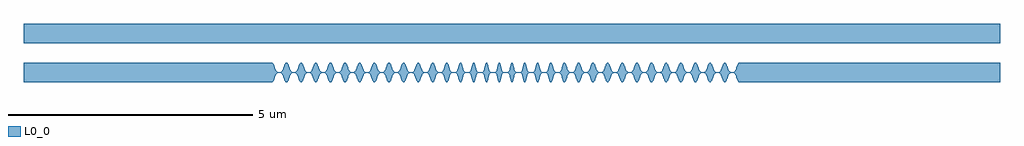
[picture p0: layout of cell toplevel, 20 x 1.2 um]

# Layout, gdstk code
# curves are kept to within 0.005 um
import gdstk
lib = gdstk.Library(unit=1e-6, precision=1e-09)
def R(c, l, rs):  # rectangles x0, y0, x1, y1
    for r in rs: c.add(gdstk.rectangle(r[:2], r[2:], *l))
def P(c, l, *ps):  # polygons
    for p in ps: c.add(gdstk.Polygon(p, *l))
L0_0 = (0, 0)

toplevel = lib.new_cell('toplevel')
R(toplevel, L0_0, [(-10,0.6,10,1)])
P(toplevel, L0_0, [(-4.911,-0.198),(-4.879,-0.155),(-4.835,-0.04),(-4.804,-0.008),(-4.737,-0.008),(-4.718,-0.021),(-4.696,-0.06),(-4.662,-0.155),(-4.643,-0.187),(-4.624,-0.2),(-4.608,-0.196),(-4.586,-0.168),(-4.523,-0.021),(-4.504,-0.008),(-4.431,-0.01),(-4.399,-0.053),(-4.362,-0.155),(-4.339,-0.19),(-4.339,0.19),(-4.362,0.155),(-4.399,0.053),(-4.431,0.01),(-4.504,0.008),(-4.523,0.021),(-4.586,0.168),(-4.608,0.196),(-4.624,0.2),(-4.643,0.187),(-4.662,0.155),(-4.696,0.06),(-4.718,0.021),(-4.737,0.008),(-4.804,0.008),(-4.835,0.04),(-4.879,0.155),(-4.898,0.187),(-4.917,0.2),(-10,0.2),(-10,-0.2)],
  [(-4.311,-0.198),(-4.279,-0.155),(-4.235,-0.04),(-4.204,-0.008),(-4.137,-0.008),(-4.118,-0.021),(-4.096,-0.06),(-4.062,-0.155),(-4.043,-0.187),(-4.024,-0.2),(-4.008,-0.196),(-3.986,-0.168),(-3.923,-0.021),(-3.904,-0.008),(-3.831,-0.01),(-3.799,-0.053),(-3.755,-0.168),(-3.755,0.168),(-3.799,0.053),(-3.831,0.01),(-3.904,0.008),(-3.923,0.021),(-3.986,0.168),(-4.008,0.196),(-4.024,0.2),(-4.043,0.187),(-4.062,0.155),(-4.096,0.06),(-4.118,0.021),(-4.137,0.008),(-4.204,0.008),(-4.223,0.021),(-4.242,0.053),(-4.295,0.183),(-4.311,0.198),(-4.33,0.198),(-4.339,0.19),(-4.339,-0.19),(-4.324,-0.2)],
  [(-3.711,-0.198),(-3.679,-0.155),(-3.635,-0.04),(-3.604,-0.008),(-3.537,-0.008),(-3.518,-0.021),(-3.496,-0.06),(-3.462,-0.155),(-3.443,-0.187),(-3.424,-0.2),(-3.395,-0.183),(-3.342,-0.053),(-3.323,-0.021),(-3.304,-0.008),(-3.237,-0.008),(-3.218,-0.021),(-3.196,-0.06),(-3.165,-0.148),(-3.165,0.148),(-3.196,0.06),(-3.218,0.021),(-3.237,0.008),(-3.304,0.008),(-3.323,0.021),(-3.342,0.053),(-3.395,0.183),(-3.424,0.2),(-3.443,0.187),(-3.462,0.155),(-3.496,0.06),(-3.518,0.021),(-3.537,0.008),(-3.604,0.008),(-3.623,0.021),(-3.642,0.053),(-3.695,0.183),(-3.711,0.198),(-3.73,0.198),(-3.755,0.168),(-3.755,-0.168),(-3.733,-0.196)],
  [(-3.111,-0.198),(-3.079,-0.155),(-3.035,-0.04),(-3.004,-0.008),(-2.937,-0.008),(-2.918,-0.021),(-2.896,-0.06),(-2.862,-0.155),(-2.843,-0.187),(-2.824,-0.2),(-2.795,-0.183),(-2.742,-0.053),(-2.71,-0.01),(-2.628,-0.012),(-2.599,-0.053),(-2.58,-0.104),(-2.58,0.104),(-2.599,0.053),(-2.628,0.012),(-2.71,0.01),(-2.742,0.053),(-2.786,0.168),(-2.808,0.196),(-2.824,0.2),(-2.843,0.187),(-2.862,0.155),(-2.896,0.06),(-2.918,0.021),(-2.937,0.008),(-3.004,0.008),(-3.023,0.021),(-3.042,0.053),(-3.095,0.183),(-3.111,0.198),(-3.13,0.198),(-3.165,0.148),(-3.165,-0.148),(-3.143,-0.187),(-3.13,-0.198)],
  [(-2.511,-0.198),(-2.479,-0.155),(-2.435,-0.04),(-2.404,-0.008),(-2.337,-0.008),(-2.318,-0.021),(-2.246,-0.183),(-2.23,-0.198),(-2.211,-0.198),(-2.179,-0.155),(-2.142,-0.053),(-2.113,-0.012),(-2.031,-0.01),(-1.999,-0.053),(-1.999,0.053),(-2.031,0.01),(-2.11,0.01),(-2.142,0.053),(-2.186,0.168),(-2.208,0.196),(-2.224,0.2),(-2.243,0.187),(-2.262,0.155),(-2.296,0.06),(-2.318,0.021),(-2.337,0.008),(-2.404,0.008),(-2.423,0.021),(-2.442,0.053),(-2.495,0.183),(-2.511,0.198),(-2.53,0.198),(-2.562,0.155),(-2.58,0.104),(-2.58,-0.104),(-2.546,-0.183),(-2.53,-0.198)],
  [(-1.911,-0.198),(-1.883,-0.162),(-1.837,-0.04),(-1.806,-0.008),(-1.737,-0.008),(-1.719,-0.021),(-1.697,-0.06),(-1.657,-0.168),(-1.626,-0.2),(-1.612,-0.196),(-1.597,-0.178),(-1.543,-0.035),(-1.52,-0.009),(-1.435,-0.01),(-1.417,-0.03),(-1.391,-0.094),(-1.391,0.094),(-1.417,0.03),(-1.435,0.01),(-1.52,0.009),(-1.543,0.035),(-1.597,0.178),(-1.612,0.196),(-1.626,0.2),(-1.657,0.168),(-1.697,0.06),(-1.719,0.021),(-1.737,0.008),(-1.806,0.008),(-1.837,0.04),(-1.896,0.183),(-1.911,0.198),(-1.93,0.198),(-1.962,0.155),(-1.999,0.053),(-1.999,-0.053),(-1.946,-0.183),(-1.93,-0.198)],
  [(-1.328,-0.199),(-1.302,-0.162),(-1.263,-0.04),(-1.236,-0.008),(-1.143,-0.012),(-1.122,-0.046),(-1.075,-0.183),(-1.056,-0.2),(-1.039,-0.19),(-0.985,-0.03),(-0.985,0.03),(-1.02,0.148),(-1.044,0.196),(-1.062,0.198),(-1.075,0.183),(-1.122,0.046),(-1.151,0.008),(-1.242,0.01),(-1.263,0.04),(-1.315,0.187),(-1.337,0.2),(-1.357,0.183),(-1.391,0.094),(-1.391,-0.094),(-1.363,-0.173),(-1.345,-0.196)],
  [(-0.98,-0.021),(-0.966,-0.008),(-0.864,-0.012),(-0.84,-0.06),(-0.805,-0.178),(-0.793,-0.196),(-0.781,-0.2),(-0.759,-0.168),(-0.729,-0.053),(-0.709,-0.012),(-0.601,-0.008),(-0.579,-0.04),(-0.538,-0.183),(-0.518,-0.2),(-0.497,-0.168),(-0.497,0.168),(-0.503,0.183),(-0.518,0.2),(-0.538,0.183),(-0.579,0.04),(-0.597,0.01),(-0.702,0.008),(-0.729,0.053),(-0.761,0.173),(-0.772,0.193),(-0.786,0.2),(-0.812,0.162),(-0.84,0.06),(-0.864,0.012),(-0.966,0.008),(-0.985,0.03),(-0.985,-0.03)],
  [(-0.491,-0.148),(-0.468,-0.053),(-0.449,-0.012),(-0.338,-0.008),(-0.317,-0.04),(-0.277,-0.183),(-0.258,-0.2),(-0.237,-0.168),(-0.21,-0.06),(-0.191,-0.015),(-0.182,-0.008),(-0.078,-0.008),(-0.057,-0.04),(-0.017,-0.183),(-0.006,-0.198),(0.006,-0.198),(0.034,-0.132),(0.034,0.132),(0.011,0.193),(-0.002,0.2),(-0.017,0.183),(-0.057,0.04),(-0.078,0.008),(-0.182,0.008),(-0.191,0.015),(-0.21,0.06),(-0.237,0.168),(-0.258,0.2),(-0.269,0.196),(-0.283,0.168),(-0.315,0.046),(-0.332,0.012),(-0.442,0.008),(-0.468,0.053),(-0.497,0.168),(-0.497,-0.168)],
  [(0.042,-0.094),(0.057,-0.04),(0.074,-0.01),(0.182,-0.008),(0.195,-0.021),(0.21,-0.06),(0.243,-0.183),(0.262,-0.2),(0.289,-0.155),(0.31,-0.068),(0.334,-0.012),(0.442,-0.008),(0.469,-0.053),(0.503,-0.178),(0.514,-0.196),(0.53,-0.198),(0.552,-0.162),(0.552,0.162),(0.545,0.178),(0.526,0.2),(0.508,0.187),(0.469,0.053),(0.442,0.008),(0.334,0.012),(0.31,0.068),(0.289,0.155),(0.262,0.2),(0.243,0.183),(0.21,0.06),(0.195,0.021),(0.182,0.008),(0.074,0.01),(0.055,0.046),(0.034,0.132),(0.034,-0.132)],
  [(0.559,-0.14),(0.587,-0.04),(0.606,-0.01),(0.706,-0.008),(0.732,-0.046),(0.767,-0.168),(0.786,-0.198),(0.799,-0.199),(0.823,-0.168),(0.859,-0.053),(0.88,-0.015),(0.891,-0.008),(0.976,-0.008),(0.997,-0.03),(0.997,0.03),(0.976,0.008),(0.883,0.012),(0.859,0.053),(0.823,0.168),(0.807,0.193),(0.791,0.2),(0.767,0.168),(0.732,0.046),(0.713,0.012),(0.611,0.008),(0.587,0.04),(0.552,0.162),(0.552,-0.162)],
  [(1.079,-0.199),(1.103,-0.173),(1.154,-0.035),(1.18,-0.008),(1.265,-0.012),(1.288,-0.046),(1.34,-0.183),(1.36,-0.2),(1.385,-0.187),(1.41,-0.14),(1.443,-0.046),(1.477,-0.008),(1.477,0.008),(1.446,0.04),(1.41,0.14),(1.376,0.196),(1.36,0.2),(1.34,0.183),(1.283,0.035),(1.257,0.008),(1.172,0.012),(1.149,0.046),(1.097,0.183),(1.077,0.2),(1.055,0.187),(0.997,0.03),(0.997,-0.03),(1.047,-0.173),(1.063,-0.196)],
  [(1.67,-0.198),(1.705,-0.148),(1.742,-0.046),(1.758,-0.021),(1.777,-0.008),(1.853,-0.012),(1.885,-0.06),(1.935,-0.183),(1.951,-0.198),(1.97,-0.198),(1.995,-0.168),(2.042,-0.046),(2.068,-0.012),(2.144,-0.008),(2.175,-0.04),(2.175,0.04),(2.144,0.008),(2.068,0.012),(2.042,0.046),(1.995,0.168),(1.973,0.196),(1.957,0.2),(1.938,0.187),(1.922,0.162),(1.866,0.025),(1.844,0.008),(1.777,0.008),(1.758,0.021),(1.742,0.046),(1.686,0.183),(1.67,0.198),(1.651,0.198),(1.623,0.162),(1.59,0.068),(1.565,0.021),(1.546,0.008),(1.477,0.008),(1.477,-0.008),(1.556,-0.012),(1.59,-0.068),(1.626,-0.168),(1.648,-0.196)],
  [(2.27,-0.198),(2.305,-0.148),(2.342,-0.046),(2.358,-0.021),(2.377,-0.008),(2.444,-0.008),(2.466,-0.025),(2.522,-0.162),(2.538,-0.187),(2.557,-0.2),(2.586,-0.183),(2.642,-0.046),(2.671,-0.01),(2.75,-0.01),(2.775,-0.04),(2.797,-0.094),(2.797,0.094),(2.775,0.04),(2.753,0.012),(2.671,0.01),(2.642,0.046),(2.595,0.168),(2.573,0.196),(2.557,0.2),(2.538,0.187),(2.522,0.162),(2.466,0.025),(2.444,0.008),(2.377,0.008),(2.358,0.021),(2.342,0.046),(2.286,0.183),(2.27,0.198),(2.251,0.198),(2.222,0.162),(2.175,0.04),(2.175,-0.04),(2.222,-0.162),(2.248,-0.196)],
  [(2.87,-0.198),(2.905,-0.148),(2.942,-0.046),(2.958,-0.021),(2.977,-0.008),(3.044,-0.008),(3.066,-0.025),(3.122,-0.162),(3.151,-0.198),(3.17,-0.198),(3.186,-0.183),(3.242,-0.046),(3.258,-0.021),(3.277,-0.008),(3.344,-0.008),(3.366,-0.025),(3.422,-0.162),(3.422,0.162),(3.366,0.025),(3.344,0.008),(3.277,0.008),(3.258,0.021),(3.242,0.046),(3.186,0.183),(3.17,0.198),(3.151,0.198),(3.122,0.162),(3.066,0.025),(3.044,0.008),(2.977,0.008),(2.958,0.021),(2.942,0.046),(2.886,0.183),(2.87,0.198),(2.851,0.198),(2.822,0.162),(2.797,0.094),(2.797,-0.094),(2.835,-0.183),(2.851,-0.198)],
  [(3.47,-0.198),(3.505,-0.148),(3.542,-0.046),(3.558,-0.021),(3.577,-0.008),(3.644,-0.008),(3.666,-0.025),(3.722,-0.162),(3.738,-0.187),(3.757,-0.2),(3.773,-0.196),(3.795,-0.168),(3.842,-0.046),(3.861,-0.018),(3.877,-0.008),(3.95,-0.01),(3.975,-0.04),(4.022,-0.162),(4.045,-0.193),(4.045,0.193),(4.022,0.162),(3.975,0.04),(3.95,0.01),(3.877,0.008),(3.861,0.018),(3.842,0.046),(3.795,0.168),(3.773,0.196),(3.757,0.2),(3.738,0.187),(3.722,0.162),(3.666,0.025),(3.644,0.008),(3.577,0.008),(3.558,0.021),(3.542,0.046),(3.486,0.183),(3.47,0.198),(3.448,0.196),(3.422,0.162),(3.422,-0.162),(3.448,-0.196)],
  [(4.07,-0.198),(4.105,-0.148),(4.142,-0.046),(4.171,-0.01),(4.253,-0.012),(4.285,-0.06),(4.322,-0.162),(4.341,-0.19),(4.364,-0.2),(4.395,-0.168),(4.458,-0.021),(4.477,-0.008),(4.544,-0.008),(4.575,-0.04),(4.622,-0.162),(4.638,-0.187),(4.657,-0.2),(10,-0.2),(10,0.2),(4.657,0.2),(4.638,0.187),(4.622,0.162),(4.575,0.04),(4.544,0.008),(4.477,0.008),(4.458,0.021),(4.395,0.168),(4.364,0.2),(4.341,0.19),(4.322,0.162),(4.285,0.06),(4.253,0.012),(4.171,0.01),(4.142,0.046),(4.095,0.168),(4.073,0.196),(4.057,0.2),(4.045,0.193),(4.045,-0.193)])

lib.write_gds('toplevel.gds')
